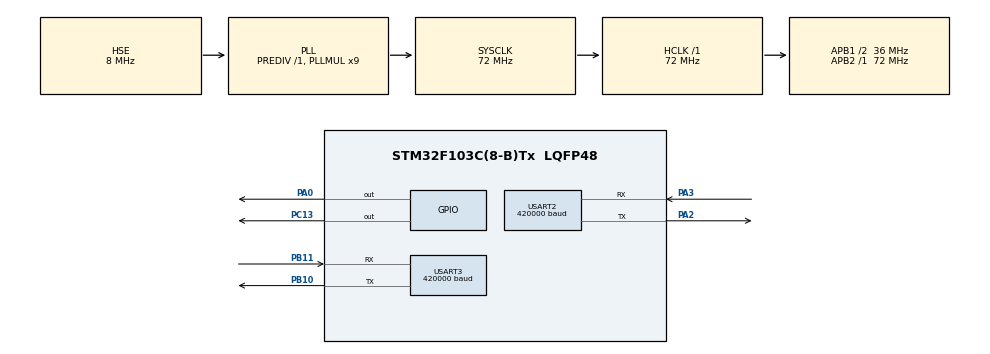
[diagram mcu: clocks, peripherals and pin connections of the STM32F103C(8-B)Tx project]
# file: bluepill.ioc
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Dma.Request0=USART2_RX
Dma.Request1=USART3_RX
Dma.USART2_RX.0.Direction=DMA_PERIPH_TO_MEMORY
Dma.USART2_RX.0.Instance=DMA1_Channel6
Dma.USART2_RX.0.MemDataAlignment=DMA_MDATAALIGN_BYTE
Dma.USART2_RX.0.MemInc=DMA_MINC_ENABLE
Dma.USART2_RX.0.Mode=DMA_CIRCULAR
Dma.USART2_RX.0.PeriphDataAlignment=DMA_PDATAALIGN_BYTE
Dma.USART2_RX.0.PeriphInc=DMA_PINC_DISABLE
Dma.USART2_RX.0.Priority=DMA_PRIORITY_LOW
Dma.USART3_RX.1.Direction=DMA_PERIPH_TO_MEMORY
Dma.USART3_RX.1.Instance=DMA1_Channel3
Dma.USART3_RX.1.MemDataAlignment=DMA_MDATAALIGN_BYTE
Dma.USART3_RX.1.MemInc=DMA_MINC_ENABLE
Dma.USART3_RX.1.Mode=DMA_CIRCULAR
Dma.USART3_RX.1.PeriphDataAlignment=DMA_PDATAALIGN_BYTE
Dma.USART3_RX.1.PeriphInc=DMA_PINC_DISABLE
Dma.USART3_RX.1.Priority=DMA_PRIORITY_LOW
Mcu.Family=STM32F1
Mcu.Name=STM32F103C(8-B)Tx
Mcu.Package=LQFP48
NVIC.DMA1_Channel3_IRQn=true\:0\:0\:false\:false\:true\:false\:true\:true
NVIC.DMA1_Channel6_IRQn=true\:0\:0\:false\:false\:true\:false\:true\:true
NVIC.PriorityGroup=NVIC_PRIORITYGROUP_4
NVIC.TIM2_IRQn=true\:0\:0\:false\:false\:true\:true\:true\:true
NVIC.USART2_IRQn=true\:0\:0\:false\:false\:true\:true\:true\:true
NVIC.USART3_IRQn=true\:0\:0\:false\:false\:true\:true\:true\:true
PA0-WKUP.Signal=GPIO_Output
PA13.Mode=Serial_Wire
PA13.Signal=SYS_JTMS-SWDIO
PA14.Mode=Serial_Wire
PA14.Signal=SYS_JTCK-SWCLK
PA2.Mode=Asynchronous
PA2.Signal=USART2_TX
PA3.Mode=Asynchronous
PA3.Signal=USART2_RX
PB10.Mode=Asynchronous
PB10.Signal=USART3_TX
PB11.Mode=Asynchronous
PB11.Signal=USART3_RX
PC13-TAMPER-RTC.Signal=GPIO_Output
PD0-OSC_IN.Mode=HSE-External-Oscillator
PD0-OSC_IN.Signal=RCC_OSC_IN
PD1-OSC_OUT.Mode=HSE-External-Oscillator
PD1-OSC_OUT.Signal=RCC_OSC_OUT
ProjectManager.HeapSize=0x200
ProjectManager.StackSize=0x400
ProjectManager.TargetToolchain=STM32CubeIDE
RCC.AHBFreq_Value=72000000
RCC.APB1CLKDivider=RCC_HCLK_DIV2
RCC.APB1Freq_Value=36000000
RCC.APB1TimFreq_Value=72000000
RCC.APB2Freq_Value=72000000
RCC.APB2TimFreq_Value=72000000
RCC.HCLKFreq_Value=72000000
RCC.PLLMUL=RCC_PLL_MUL9
RCC.PLLSourceVirtual=RCC_PLLSOURCE_HSE
RCC.SYSCLKFreq_VALUE=72000000
RCC.SYSCLKSource=RCC_SYSCLKSOURCE_PLLCLK
RCC.USBFreq_Value=72000000
TIM2.AutoReloadPreload=TIM_AUTORELOAD_PRELOAD_DISABLE
TIM2.Prescaler=0
USART2.BaudRate=420000
USART2.VirtualMode=VM_ASYNC
USART3.BaudRate=420000
USART3.VirtualMode=VM_ASYNC
VP_TIM2_VS_ClockSourceINT.Mode=Internal
board=custom

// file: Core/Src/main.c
/* USER CODE BEGIN Header */
/**
  ******************************************************************************
  * @file           : main.c
  * @brief          : Main program body
  ******************************************************************************
  * @attention
  *
  * Copyright (c) 2025 STMicroelectronics.
  * All rights reserved.
  *
  * This software is licensed under terms that can be found in the LICENSE file
  * in the root directory of this software component.
  * If no LICENSE file comes with this software, it is provided AS-IS.
  *
  ******************************************************************************
  */
/* USER CODE END Header */
#include "main.h"
#include "dma.h"
#include "tim.h"
#include "usart.h"
#include "gpio.h"

/* USER CODE BEGIN Includes */
#include "stdbool.h"
/* USER CODE END Includes */

/* USER CODE BEGIN PD */
#define CRSF_MAX_SIZE 64
#define CIRCULAR_BUFF_MAX_SIZE 128

#define CRSF_SYNC 0xc8
#define CRSF_LQ 0x14
/* USER CODE END PD */

/* USER CODE BEGIN PV */
uint8_t circBuff1[CIRCULAR_BUFF_MAX_SIZE];
uint8_t circBuff2[CIRCULAR_BUFF_MAX_SIZE];

uint8_t RxBuff1[CIRCULAR_BUFF_MAX_SIZE];
uint8_t RxBuff2[CIRCULAR_BUFF_MAX_SIZE];
/* USER CODE END PV */

void SystemClock_Config(void);

int main(void)
{

  /* MCU Configuration--------------------------------------------------------*/

  /* Reset of all peripherals, Initializes the Flash interface and the Systick. */
  HAL_Init();

  /* Configure the system clock */
  SystemClock_Config();

  /* Initialize all configured peripherals */
  MX_GPIO_Init();
  MX_DMA_Init();
  MX_TIM2_Init();
  MX_USART2_UART_Init();
  MX_USART3_UART_Init();
  /* USER CODE BEGIN 2 */
  HAL_UART_Receive_DMA(&huart2, circBuff1, CIRCULAR_BUFF_MAX_SIZE);
  HAL_UART_Receive_DMA(&huart3, circBuff2, CIRCULAR_BUFF_MAX_SIZE);
  HAL_TIM_Base_Start_IT(&htim2);
  /* USER CODE END 2 */

  /* Infinite loop */
  /* USER CODE BEGIN WHILE */

  while (1)
  {
	  HAL_UART_Receive_DMA(&huart2, circBuff1, CIRCULAR_BUFF_MAX_SIZE);
	  HAL_UART_Receive_DMA(&huart3, circBuff2, CIRCULAR_BUFF_MAX_SIZE);
//	  HAL_GPIO_TogglePin(GPIOC, GPIO_PIN_13);
//	  HAL_GPIO_TogglePin(GPIOA, GPIO_PIN_0);
//	  HAL_Delay(1000);
    /* USER CODE END WHILE */

  }
}

void SystemClock_Config(void)
{
  RCC_OscInitTypeDef RCC_OscInitStruct = {0};
  RCC_ClkInitTypeDef RCC_ClkInitStruct = {0};

  /** Initializes the RCC Oscillators according to the specified parameters
  * in the RCC_OscInitTypeDef structure.
  */
  RCC_OscInitStruct.OscillatorType = RCC_OSCILLATORTYPE_HSE;
  RCC_OscInitStruct.HSEState = RCC_HSE_ON;
  RCC_OscInitStruct.HSEPredivValue = RCC_HSE_PREDIV_DIV1;
  RCC_OscInitStruct.HSIState = RCC_HSI_ON;
  RCC_OscInitStruct.PLL.PLLState = RCC_PLL_ON;
  RCC_OscInitStruct.PLL.PLLSource = RCC_PLLSOURCE_HSE;
  RCC_OscInitStruct.PLL.PLLMUL = RCC_PLL_MUL9;
  if (HAL_RCC_OscConfig(&RCC_OscInitStruct) != HAL_OK)
  {
    Error_Handler();
  }

  /** Initializes the CPU, AHB and APB buses clocks
  */
  RCC_ClkInitStruct.ClockType = RCC_CLOCKTYPE_HCLK|RCC_CLOCKTYPE_SYSCLK
                              |RCC_CLOCKTYPE_PCLK1|RCC_CLOCKTYPE_PCLK2;
  RCC_ClkInitStruct.SYSCLKSource = RCC_SYSCLKSOURCE_PLLCLK;
  RCC_ClkInitStruct.AHBCLKDivider = RCC_SYSCLK_DIV1;
  RCC_ClkInitStruct.APB1CLKDivider = RCC_HCLK_DIV2;
  RCC_ClkInitStruct.APB2CLKDivider = RCC_HCLK_DIV1;

  if (HAL_RCC_ClockConfig(&RCC_ClkInitStruct, FLASH_LATENCY_2) != HAL_OK)
  {
    Error_Handler();
  }
}

/* USER CODE BEGIN 4 */

int count1 = 0;
int count2 = 0;

int leftover1 = 0;
int leftover2 = 0;

int lq1 = 100;
int lq2 = 50;

int STATUS1 = 0;
int STATUS2 = 0;

void ScanDataLQ(int* count, int* leftover, int* status, uint8_t* rxBuff, int* lq, int (*processDataLQ)(int*, int*, uint8_t*, int*)) {
    bool flag = false;
    int check = 0;
    while (!flag)
    {
        if ((*status == 0) || (*status == 1))
        {
            for (int i = *count; i < CIRCULAR_BUFF_MAX_SIZE; i++)
            {
                flag = false;
                if (rxBuff[i] == CRSF_SYNC)
                {
                    *count = i;
                    check = 0;
                    *status = processDataLQ(count, leftover, rxBuff, lq);
                    if (*status == 1)
                    {
                        *count = 0;
                        *leftover = 0;
                        flag = true;
                    }
                    else if (*status == 2)
                    {
                        *count = 0;
                        flag = true;
                        break;
                    }
                    else
                    {
                        *count = 0;
                    }
                }
                else
                {
                	check++;
                }
                flag = true;
            }
            if (check >= (CIRCULAR_BUFF_MAX_SIZE - 3))
            {
            	*lq = 0;
            	check = 0;
            }
        }
        else if (*status == 2)
        {
            *lq = rxBuff[*leftover - 1];
            flag = false;
            *count = *leftover;
            *status = 0;
        }
    }
}

int ProcessDataLQ(int* count, int* leftover, uint8_t* rxBuff, int* lq)
{
    int avLen = CIRCULAR_BUFF_MAX_SIZE - *count;
    if (avLen >= 6)
    {
        if (rxBuff[*count + 2] == CRSF_LQ)
        {
            *lq = rxBuff[*count + 5];
            return 1;
        }
        else
        {
            return 0;
        }
    }
    else if (avLen < 5)
    {
        *leftover = 6 - avLen;
        if (*leftover >= 3)
        {
            if (rxBuff[*count + 3] == CRSF_LQ)
            {
                return 2;
            }
            else
            {
                return 0;
            }
        }
    }
    return 0;
}

void HAL_UART_RxCpltCallback(UART_HandleTypeDef *huart)
{
	if (huart == &huart2)
	{
		HAL_UART_Receive_DMA(&huart3, circBuff2, CIRCULAR_BUFF_MAX_SIZE);
		memcpy(RxBuff1, circBuff1, CIRCULAR_BUFF_MAX_SIZE);
//		ScanDataLQ1();
		ScanDataLQ(&count1, &leftover1, &STATUS1, RxBuff1, &lq1, ProcessDataLQ);

	}
	else if (huart == &huart3)
	{
		HAL_UART_Receive_DMA(&huart2, circBuff1, CIRCULAR_BUFF_MAX_SIZE);
		memcpy(RxBuff2, circBuff2, CIRCULAR_BUFF_MAX_SIZE);
//		ScanDataLQ2();
		ScanDataLQ(&count2, &leftover2, &STATUS2, RxBuff2, &lq2, ProcessDataLQ);
	}
}

void HAL_TIM_PeriodElapsedCallback(TIM_HandleTypeDef *htim)
{
//
//	if (htim == &htim2)
//	{
//		HAL_GPIO_TogglePin(GPIOC, GPIO_PIN_13);

//		if ((lq1 < 50) || (lq2 < 50))
//		{
	if ((abs(lq1 - lq2) > 5) && ((lq1 < 60) || (lq2 < 60)))
	{
		if (lq1 > lq2)
		{
			HAL_GPIO_WritePin(GPIOA, GPIO_PIN_0, GPIO_PIN_SET);
			HAL_GPIO_WritePin(GPIOC, GPIO_PIN_13, GPIO_PIN_SET);
		}
		else if (lq1 < lq2)
		{
			HAL_GPIO_WritePin(GPIOA, GPIO_PIN_0, GPIO_PIN_RESET);
			HAL_GPIO_WritePin(GPIOC, GPIO_PIN_13, GPIO_PIN_RESET);
		}
	}
//		}
//	}

}

/* USER CODE END 4 */

void Error_Handler(void)
{
  __disable_irq();
  while (1)
  {
  }
}
